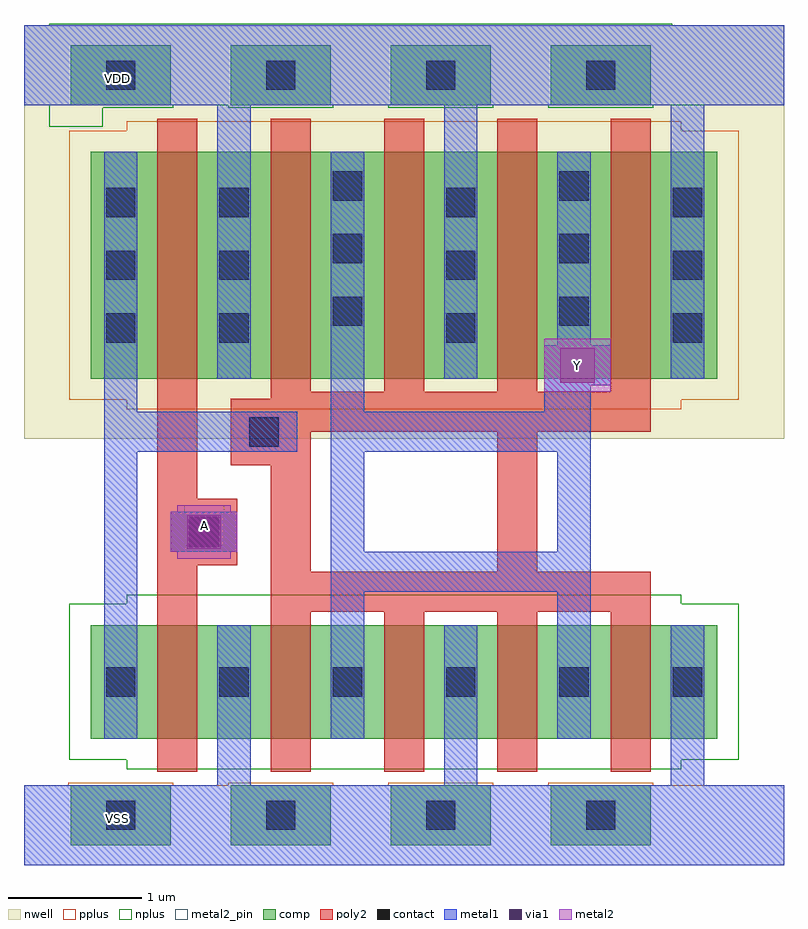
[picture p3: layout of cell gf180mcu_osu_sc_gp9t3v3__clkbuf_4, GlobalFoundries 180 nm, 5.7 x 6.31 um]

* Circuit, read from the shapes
.subckt gf180mcu_osu_sc_gp9t3v3__clkbuf_4 A VDD VSS Y
XM1 VSS A n1 VSS nfet_03v3 w=0.85u l=0.3u
XM2 Y n1 VSS VSS nfet_03v3 w=0.85u l=0.3u m=4
XM3 VDD A n1 VDD pfet_03v3 w=1.7u l=0.3u
XM4 Y n1 VDD VDD pfet_03v3 w=1.7u l=0.3u m=4
.ends

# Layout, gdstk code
import gdstk
lib = gdstk.Library(unit=1e-6, precision=1e-09)
def R(c, l, rs):  # rectangles x0, y0, x1, y1
    for r in rs: c.add(gdstk.rectangle(r[:2], r[2:], *l))
def A(c, l, x, y, w, h, nx, ny, dx, dy):  # array of equal rectangles
    R(c, l, [(x+i*dx, y+j*dy, x+i*dx+w, y+j*dy+h) for i in range(nx) for j in range(ny)])
nwell = (21, 0)
comp = (22, 0)
poly2 = (30, 0)
pplus = (31, 0)
nplus = (32, 0)
contact = (33, 0)
metal1 = (34, 0)
via1 = (35, 0)
metal2 = (36, 0)
metal2_pin = (36, 10)

gf180mcu_osu_sc_gp9t3v3_ = lib.new_cell('gf180mcu_osu_sc_gp9t3v3__clkbuf_4')
R(gf180mcu_osu_sc_gp9t3v3_, nwell, [(0,3.2,5.7,6.3)])
A(gf180mcu_osu_sc_gp9t3v3_, comp, 0.35, 0.15, 0.75, 0.45, 4, 2, 1.2, 5.55)
R(gf180mcu_osu_sc_gp9t3v3_, comp, [(0.5,0.95,5.2,1.8), (0.5,3.65,5.2,5.35)])
A(gf180mcu_osu_sc_gp9t3v3_, poly2, 1.85, 0.7, 0.3, 1.2, 4, 1, 0.85, 0)
A(gf180mcu_osu_sc_gp9t3v3_, poly2, 1.85, 3.55, 0.3, 2.05, 4, 1, 0.85, 0)
R(gf180mcu_osu_sc_gp9t3v3_, poly2, [(1,0.7,1.3,2.25), (1.85,1.9,4.7,2.2), (1.85,2.2,2.15,3), (3.55,2.2,3.85,3.25), (1,2.25,1.6,2.75), (1,2.75,1.3,5.6), (1.55,3,2.15,3.25), (1.55,3.25,4.7,3.5), (1.85,3.5,4.7,3.55)])
A(gf180mcu_osu_sc_gp9t3v3_, pplus, 0.33, 0.13, 0.79, 0.49, 4, 1, 1.2, 0)
R(gf180mcu_osu_sc_gp9t3v3_, pplus, [(0,0,5.7,0.6), (0.77,3.42,4.93,3.49), (0.34,3.49,5.36,5.51), (0.77,5.51,4.93,5.58)])
A(gf180mcu_osu_sc_gp9t3v3_, nplus, 1.53, 5.68, 0.79, 0.02, 3, 1, 1.2, 0)
R(gf180mcu_osu_sc_gp9t3v3_, nplus, [(0.77,0.72,4.93,0.79), (0.34,0.79,5.36,1.96), (0.77,1.96,4.93,2.03), (0.19,5.54,0.59,5.68), (0.19,5.68,1.12,5.7), (0,5.7,5.7,6.3), (0,5.7,5.7,6.3), (0.19,6.3,4.86,6.31)])
A(gf180mcu_osu_sc_gp9t3v3_, contact, 0.615, 0.265, 0.22, 0.22, 4, 2, 1.2, 5.55)
A(gf180mcu_osu_sc_gp9t3v3_, contact, 0.615, 1.265, 0.22, 0.22, 6, 1, 0.85, 0)
A(gf180mcu_osu_sc_gp9t3v3_, contact, 0.615, 3.92, 0.22, 0.22, 1, 3, 0, 0.47)
A(gf180mcu_osu_sc_gp9t3v3_, contact, 1.465, 3.92, 0.22, 0.22, 3, 3, 1.7, 0.47)
A(gf180mcu_osu_sc_gp9t3v3_, contact, 2.315, 4.045, 0.22, 0.22, 1, 3, 0, 0.47)
A(gf180mcu_osu_sc_gp9t3v3_, contact, 4.015, 4.045, 0.22, 0.22, 1, 3, 0, 0.47)
R(gf180mcu_osu_sc_gp9t3v3_, contact, [(1.24,2.39,1.46,2.61), (1.69,3.14,1.91,3.36)])
A(gf180mcu_osu_sc_gp9t3v3_, metal1, 1.45, 0.6, 0.25, 1.2, 3, 1, 1.7, 0)
A(gf180mcu_osu_sc_gp9t3v3_, metal1, 1.45, 3.65, 0.25, 2.05, 3, 1, 1.7, 0)
R(gf180mcu_osu_sc_gp9t3v3_, metal1, [(0,0,5.7,0.6), (0.6,0.95,0.85,3.1), (2.3,0.95,2.55,2.05), (4,0.95,4.25,2.05), (2.3,2.05,4.25,2.35), (1.1,2.35,1.6,2.65), (2.3,2.35,2.55,3.1), (4,2.35,4.25,3.1), (0.6,3.1,2.05,3.4), (2.3,3.1,4.25,3.4), (0.6,3.4,0.85,5.35), (2.3,3.4,2.55,5.35), (3.9,3.4,4.25,3.6), (3.9,3.6,4.4,3.9), (4,3.9,4.25,5.35), (0,5.7,5.7,6.3)])
R(gf180mcu_osu_sc_gp9t3v3_, via1, [(1.22,2.37,1.48,2.63), (4.02,3.62,4.28,3.88)])
R(gf180mcu_osu_sc_gp9t3v3_, metal2, [(1.15,2.3,1.55,2.35), (1.1,2.35,1.6,2.65), (1.15,2.65,1.55,2.7), (3.9,3.55,4.4,3.95)])
R(gf180mcu_osu_sc_gp9t3v3_, metal2_pin, [(1.2,2.4,1.5,2.7)])
gf180mcu_osu_sc_gp9t3v3_.add(gdstk.Label('VDD', (0.7,5.9), layer=22, texttype=0))
gf180mcu_osu_sc_gp9t3v3_.add(gdstk.Label('VSS', (0.7,0.35), layer=22, texttype=0))
gf180mcu_osu_sc_gp9t3v3_.add(gdstk.Label('Y', (4.15,3.75), layer=36, texttype=10))
gf180mcu_osu_sc_gp9t3v3_.add(gdstk.Label('A', (1.35,2.55), layer=36, texttype=10))

lib.write_gds('gf180mcu_osu_sc_gp9t3v3__clkbuf_4.gds')
